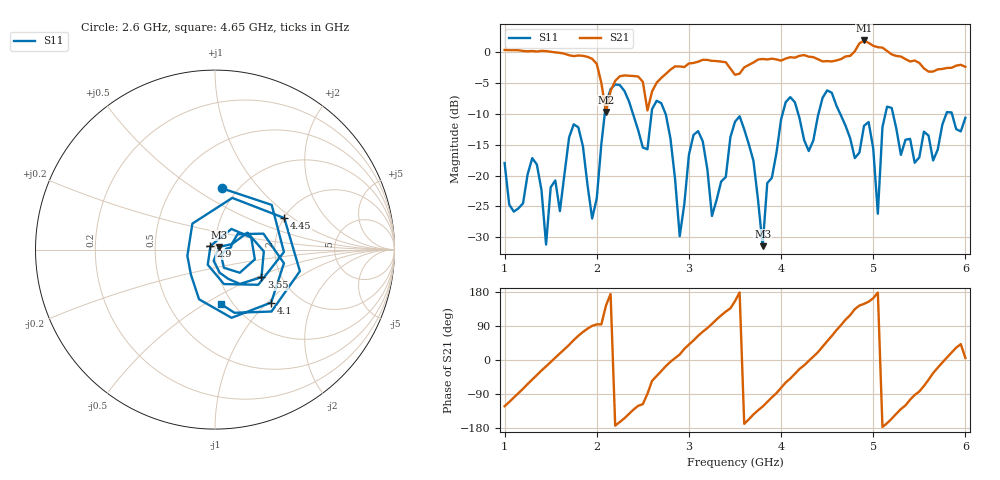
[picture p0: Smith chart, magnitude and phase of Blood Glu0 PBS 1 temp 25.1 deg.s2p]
! NanoVNA-App
! Date: 2024-03-21 11:34:16
! Start: 1GHz Stop: 6GHz Points: 101
! S-Parameter data: F S11 S21 S12 S22
# Hz S RI R 50
!	Frequency	S11_Real	S11_Imag	S21_Real	S21_Imag	S12_Real	S12_Imag	S22_Real	S22_Imag
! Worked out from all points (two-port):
!   101 points, 1 GHz to 6 GHz, reference 50 ohm
!   highest |S21| = 1.84 dB at 4.9 GHz (marker M1); lowest = -9.7 dB at 2.1 GHz (marker M2)
!   |S21| within 3 dB of the highest: start of sweep to 1.952 GHz; 4.652 GHz to 5.349 GHz (696.9 MHz wide, 13.9 % of centre)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
!   lowest |S11| = -31.4 dB at 3.8 GHz (marker M3), VSWR 1.06, Z = 52.3 + j1.55 ohm
!   |S11| at or under -10 dB: start of sweep to 2.087 GHz; 2.746 GHz to 4.017 GHz (1.271 GHz wide, 37.6 % of centre); 5.214 GHz to 5.794 GHz (579.4 MHz wide, 10.5 % of centre)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
!   S12 and S22 are empty: the file has one direction only
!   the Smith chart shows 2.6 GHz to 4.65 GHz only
!   S11 on the Smith chart (normalised r, x): 2.6 GHz: 0.84, +0.65; 2.9 GHz: 0.95, +0.04; 3.55 GHz: 1.59, -0.54; 4.1 GHz: 1.46, -1.06; 4.45 GHz: 2.01, +0.86; 4.65 GHz: 0.89, -0.59
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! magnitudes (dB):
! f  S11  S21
! 1 GHz  -18.0  0.3
! 1.35 GHz  -18.2  0.1
! 1.45 GHz  -31.2  0.1
! 1.85 GHz  -15.3  -0.6
! 1.95 GHz  -26.9  -1.1
! 2.1 GHz  -8.3  -9.7
! 2.6 GHz  -9.3  -6.4
! 2.7 GHz  -8.3  -4.2
! 2.9 GHz  -29.8  -2.4
! 3.05 GHz  -13.4  -1.8
! 3.25 GHz  -26.5  -1.5
! 3.5 GHz  -11.3  -3.7
! 3.55 GHz  -10.4  -3.5
! 3.8 GHz  -31.4  -1.2
! 4.1 GHz  -7.3  -0.9
! 4.35 GHz  -14.3  -0.9
! 4.45 GHz  -7.4  -1.5
! 4.65 GHz  -10.3  -1.2
! 4.9 GHz  -12.0  1.8
! 5.05 GHz  -26.2  0.8
! 5.2 GHz  -9.1  -0.4
! 6 GHz  -10.7  -2.4
